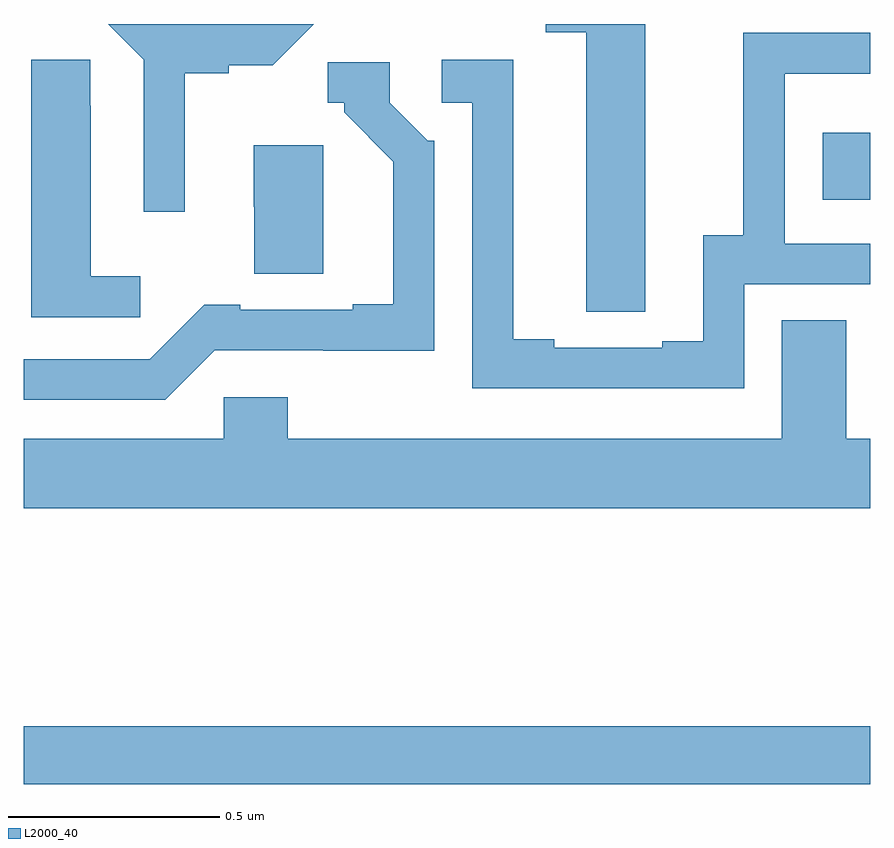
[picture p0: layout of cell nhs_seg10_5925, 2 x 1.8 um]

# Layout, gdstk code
import gdstk
lib = gdstk.Library(unit=1e-6, precision=1e-09)
def R(c, l, rs):  # rectangles x0, y0, x1, y1
    for r in rs: c.add(gdstk.rectangle(r[:2], r[2:], *l))
def P(c, l, *ps):  # polygons
    for p in ps: c.add(gdstk.Polygon(p, *l))
L2000_40 = (2000, 40)

nhs_seg10_5925 = lib.new_cell('nhs_seg10_5925')
R(nhs_seg10_5925, L2000_40, [(185,1259.704,187,1259.84), (186.888,1261.085,187,1261.243)])
P(nhs_seg10_5925, L2000_40, [(185.38,1261.384),(185.484,1261.384),(185.484,1261.403),(185.588,1261.403),(185.685,1261.5),(185.199,1261.5),(185.283,1261.416),(185.283,1261.056),(185.38,1261.056)],
  [(186.468,1260.928),(186.469,1260.928),(186.469,1261.5),(186.233,1261.5),(186.233,1261.48),(186.329,1261.48),(186.329,1260.82),(186.468,1260.82)],
  [(186.702,1260.885),(187,1260.885),(187,1260.981),(186.798,1260.981),(186.798,1261.382),(186.8,1261.382),(186.8,1261.383),(187,1261.383),(187,1261.479),(186.7,1261.479),(186.7,1261.001),(186.605,1261.001),(186.605,1260.75),(186.509,1260.75),(186.509,1260.735),(186.253,1260.735),(186.253,1260.755),(186.157,1260.755),(186.157,1261.415),(185.988,1261.415),(185.988,1261.314),(186.06,1261.314),(186.06,1260.639),(186.702,1260.639)],
  [(185.275,1260.904),(185.158,1260.904),(185.158,1261.307),(185.157,1261.307),(185.157,1261.415),(185.018,1261.415),(185.018,1260.807),(185.275,1260.807)],
  [(185.451,1260.729),(185.707,1260.729),(185.707,1260.728),(185.97,1260.728),(185.97,1261.224),(185.955,1261.224),(185.865,1261.314),(185.865,1261.41),(185.718,1261.41),(185.718,1261.314),(185.757,1261.314),(185.757,1261.291),(185.873,1261.174),(185.873,1260.838),(185.777,1260.838),(185.777,1260.825),(185.512,1260.825),(185.512,1260.836),(185.426,1260.836),(185.298,1260.708),(185,1260.708),(185,1260.612),(185.334,1260.612)],
  [(185.707,1261.213),(185.543,1261.213),(185.543,1261.068),(185.545,1261.068),(185.545,1260.91),(185.707,1260.91)],
  [(186.791,1260.8),(186.791,1260.52),(185.624,1260.52),(185.624,1260.618),(185.472,1260.618),(185.472,1260.52),(185,1260.52),(185,1260.356),(187,1260.356),(187,1260.52),(186.944,1260.52),(186.944,1260.8)])

lib.write_gds('nhs_seg10_5925.gds')
